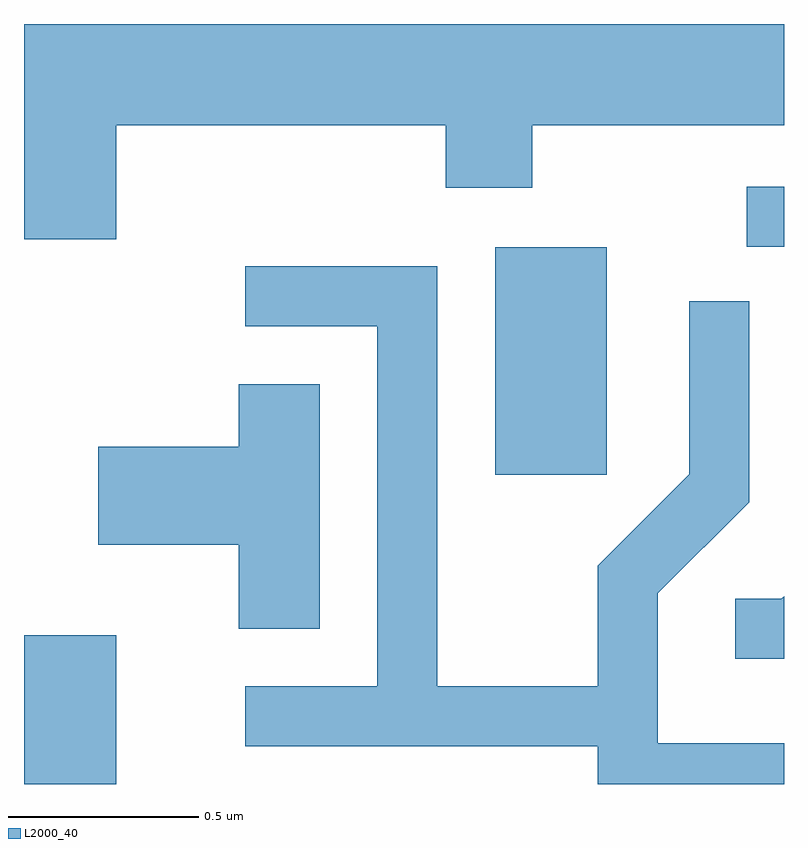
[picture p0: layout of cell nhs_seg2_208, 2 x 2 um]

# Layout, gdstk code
import gdstk
lib = gdstk.Library(unit=1e-6, precision=1e-09)
def R(c, l, rs):  # rectangles x0, y0, x1, y1
    for r in rs: c.add(gdstk.rectangle(r[:2], r[2:], *l))
def P(c, l, *ps):  # polygons
    for p in ps: c.add(gdstk.Polygon(p, *l))
L2000_40 = (2000, 40)

nhs_seg2_208 = lib.new_cell('nhs_seg2_208')
R(nhs_seg2_208, L2000_40, [(186.611,1048.802,186.854,1049.194), (187.851,1049.616,188.144,1050.214), (188.513,1050.216,188.611,1050.374)])
P(nhs_seg2_208, L2000_40, [(186.854,1050.536),(187.721,1050.536),(187.721,1050.371),(187.949,1050.371),(187.949,1050.536),(188.611,1050.536),(188.611,1050.802),(186.611,1050.802),(186.611,1050.236),(186.854,1050.236)],
  [(188.611,1048.909),(188.279,1048.909),(188.279,1049.304),(188.519,1049.544),(188.519,1050.073),(188.361,1050.073),(188.361,1049.617),(188.121,1049.377),(188.121,1049.059),(187.699,1049.059),(187.699,1050.164),(187.193,1050.164),(187.193,1050.006),(187.541,1050.006),(187.541,1049.059),(187.193,1049.059),(187.193,1048.901),(188.121,1048.901),(188.121,1048.802),(188.611,1048.802)],
  [(187.389,1049.854),(187.176,1049.854),(187.176,1049.689),(186.806,1049.689),(186.806,1049.431),(187.176,1049.431),(187.176,1049.211),(187.389,1049.211)],
  [(188.611,1049.296),(188.604,1049.289),(188.483,1049.289),(188.483,1049.131),(188.611,1049.131)])

lib.write_gds('nhs_seg2_208.gds')
